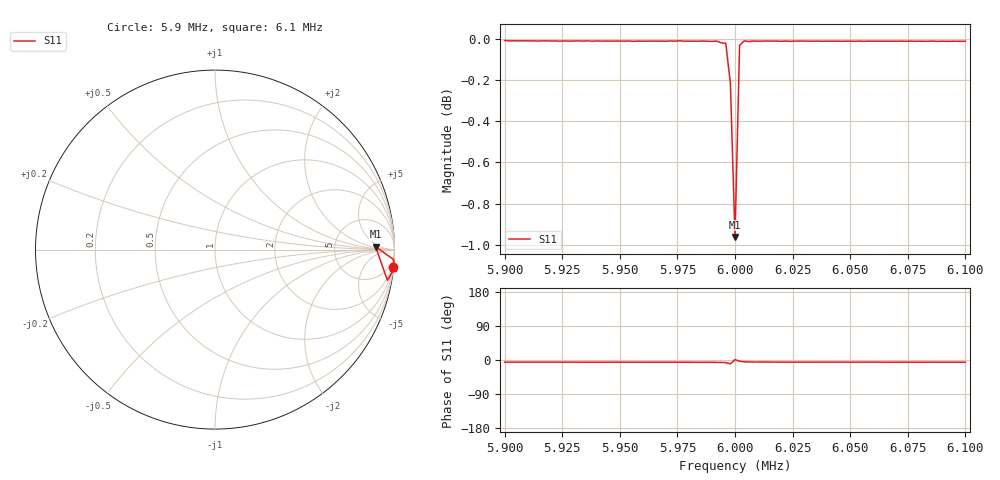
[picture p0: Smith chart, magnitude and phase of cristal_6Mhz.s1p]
# HZ S RI R 50
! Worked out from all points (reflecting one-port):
!   101 points, 5.9 MHz to 6.1 MHz, reference 50 ohm
!   lowest |S11| = -1.0 dB at 6 MHz (marker M1), VSWR 18.09, Z = 881 + j144 ohm
!   phase of S11 starts at -6 deg and turns -0 deg over the sweep
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5900000  0.9944 -0.0984
5902000  0.9941 -0.0983
5926000  0.9941 -0.0989
5944000  0.9939 -0.0994
5950000  0.9939 -0.0998
5962000  0.9938 -0.1003
5976000  0.9938 -0.1016
5980000  0.9936 -0.1024
5986000  0.9935 -0.104
5990000  0.993 -0.1063
5992000  0.993 -0.1086
5994000  0.9916 -0.1123
5996000  0.9905 -0.1195
5998000  0.9604 -0.1712
6000000  0.8951 0.0162
6002000  0.995 -0.0556
6004000  0.9955 -0.0836
6006000  0.9946 -0.0888
6008000  0.9948 -0.0912
6010000  0.9944 -0.0929
6014000  0.9944 -0.0947
6020000  0.9941 -0.096
6022000  0.9943 -0.0964
6026000  0.9942 -0.0969
6028000  0.9942 -0.0973
6050000  0.994 -0.0986
6076000  0.9939 -0.0994
6100000  0.9937 -0.1001
